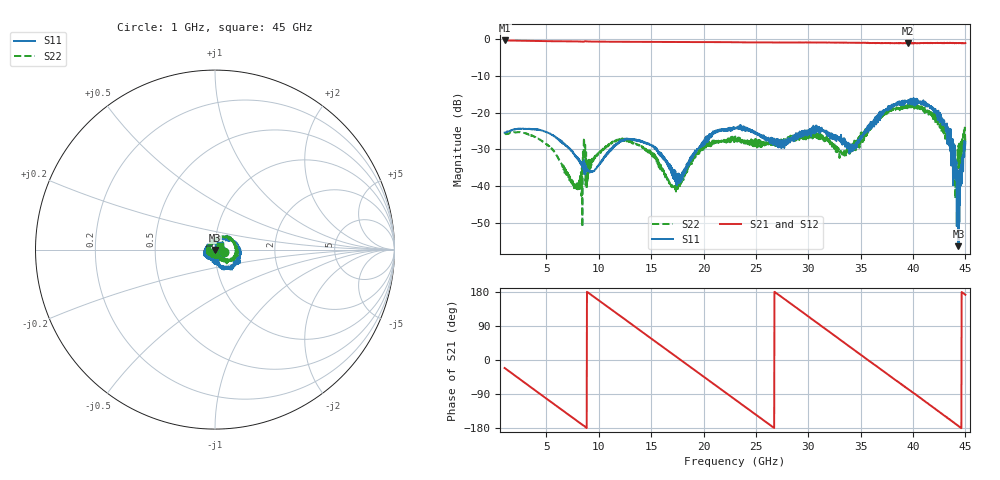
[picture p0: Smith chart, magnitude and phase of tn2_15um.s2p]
!Keysight Technologies,N5247B,MY61255062,A.19.80.06
!Date: Thursday, May 21, 2026 12:27:58
!Correction: S11(Cdelta 2-Port  )
!S21(Cdelta 2-Port  )
!S12(Cdelta 2-Port  )
!S22(Cdelta 2-Port  )
!S2P File: Measurements: S11, S21, S12, S22:
# Hz S  dB  R 50
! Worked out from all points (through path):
!   1601 points, 1 GHz to 45 GHz, reference 50 ohm
!   highest |S21| = -0.48 dB at 1 GHz (marker M1); lowest = -1.3 dB at 39.53 GHz (marker M2)
!   group delay of S21, straight-line fit = 55.9 ps
!   lowest |S11| = -56.2 dB at 44.34 GHz (marker M3), VSWR 1.00, Z = 50 - j0.152 ohm
!   |S11| at or under -10 dB: start of sweep to end of sweep
!   |S22| runs from -51.0 to -17.6 dB; largest |S21 - S12| = 0.018
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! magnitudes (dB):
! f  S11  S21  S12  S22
! 1 GHz  -25.4  -0.5  -0.5  -25.7
! 5.043 GHz  -25.4  -0.7  -0.7  -28.8
! 7.683 GHz  -31.6  -0.7  -0.7  -39.5
! 8.342 GHz  -33.6  -0.8  -0.8  -42.6
! 8.672 GHz  -34.2  -0.7  -0.7  -28.8
! 9.47 GHz  -35.8  -0.8  -0.8  -33.1
! 11.97 GHz  -27.8  -0.8  -0.9  -27.6
! 15.69 GHz  -30.5  -0.9  -0.9  -33.9
! 16.92 GHz  -36.4  -0.9  -0.9  -39.6
! 17.66 GHz  -36.6  -0.9  -0.9  -38.5
! 19.95 GHz  -28.2  -0.9  -0.9  -30.1
! 23 GHz  -24.1  -1.0  -1.0  -27.2
! 27.57 GHz  -27.4  -1.0  -1.0  -27.2
! 30.34 GHz  -25.8  -1.0  -1.0  -25.8
! 34.25 GHz  -29.0  -1.1  -1.1  -29.4
! 37.69 GHz  -19.0  -1.2  -1.2  -19.1
! 39.53 GHz  -16.7  -1.3  -1.2  -18.5
! 42.88 GHz  -23.0  -1.2  -1.1  -23.9
! 43.57 GHz  -30.5  -1.2  -1.1  -28.1
! 43.98 GHz  -36.5  -1.3  -1.2  -33.4
! 44.34 GHz  -56.2  -1.2  -1.2  -28.9
! 45 GHz  -28.1  -1.2  -1.2  -28.7
